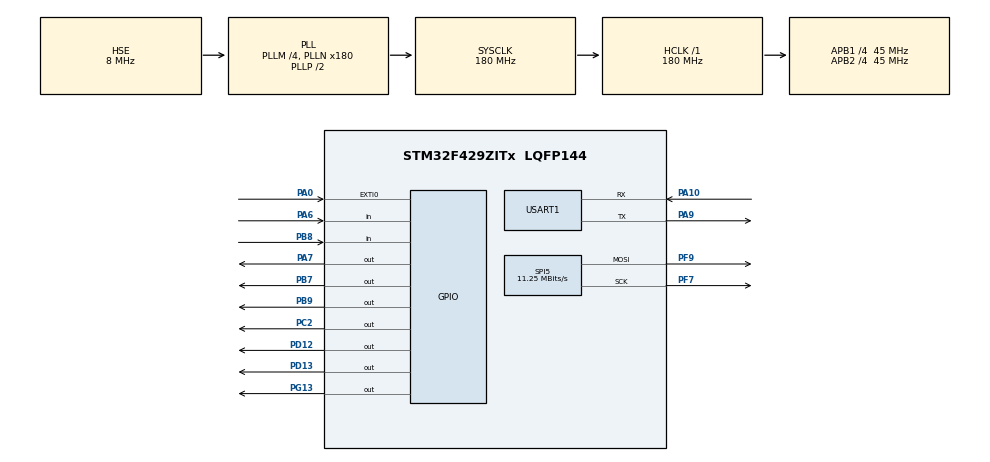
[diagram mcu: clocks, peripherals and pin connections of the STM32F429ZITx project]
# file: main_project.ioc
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Dma.Request0=SPI5_TX
Dma.SPI5_TX.0.Direction=DMA_MEMORY_TO_PERIPH
Dma.SPI5_TX.0.FIFOMode=DMA_FIFOMODE_DISABLE
Dma.SPI5_TX.0.Instance=DMA2_Stream4
Dma.SPI5_TX.0.MemDataAlignment=DMA_MDATAALIGN_BYTE
Dma.SPI5_TX.0.MemInc=DMA_MINC_ENABLE
Dma.SPI5_TX.0.Mode=DMA_NORMAL
Dma.SPI5_TX.0.PeriphDataAlignment=DMA_PDATAALIGN_BYTE
Dma.SPI5_TX.0.PeriphInc=DMA_PINC_DISABLE
Dma.SPI5_TX.0.Priority=DMA_PRIORITY_LOW
Mcu.Family=STM32F4
Mcu.Name=STM32F429ZITx
Mcu.Package=LQFP144
NVIC.DMA2_Stream4_IRQn=true\:0\:0\:false\:false\:true\:false\:true\:true
NVIC.EXTI0_IRQn=true\:0\:0\:false\:false\:true\:true\:true\:true
NVIC.PriorityGroup=NVIC_PRIORITYGROUP_4
PA0/WKUP.GPIO_ModeDefaultEXTI=GPIO_MODE_IT_RISING
PA0/WKUP.Signal=GPXTI0
PA10.Mode=Asynchronous
PA10.Signal=USART1_RX
PA6.Signal=GPIO_Input
PA7.Signal=GPIO_Output
PA9.Mode=Asynchronous
PA9.Signal=USART1_TX
PB7.Signal=GPIO_Output
PB8.Signal=GPIO_Input
PB9.Signal=GPIO_Output
PC2.Signal=GPIO_Output
PD12.Signal=GPIO_Output
PD13.Signal=GPIO_Output
PF7.Mode=TX_Only_Simplex_Unidirect_Master
PF7.Signal=SPI5_SCK
PF9.Mode=TX_Only_Simplex_Unidirect_Master
PF9.Signal=SPI5_MOSI
PG13.Signal=GPIO_Output
PH0/OSC_IN.Mode=HSE-External-Oscillator
PH0/OSC_IN.Signal=RCC_OSC_IN
PH1/OSC_OUT.Mode=HSE-External-Oscillator
PH1/OSC_OUT.Signal=RCC_OSC_OUT
ProjectManager.HeapSize=0x200
ProjectManager.StackSize=0x400
ProjectManager.TargetToolchain=STM32CubeIDE
RCC.48MHZClocksFreq_Value=90000000
RCC.AHBFreq_Value=180000000
RCC.APB1CLKDivider=RCC_HCLK_DIV4
RCC.APB1Freq_Value=45000000
RCC.APB1TimFreq_Value=90000000
RCC.APB2CLKDivider=RCC_HCLK_DIV4
RCC.APB2Freq_Value=45000000
RCC.APB2TimFreq_Value=90000000
RCC.CortexFreq_Value=180000000
RCC.HCLKFreq_Value=180000000
RCC.HSE_VALUE=8000000
RCC.HSI_VALUE=16000000
RCC.LSE_VALUE=32768
RCC.PLLM=4
RCC.PLLN=180
RCC.PLLSourceVirtual=RCC_PLLSOURCE_HSE
RCC.SYSCLKFreq_VALUE=180000000
RCC.SYSCLKSource=RCC_SYSCLKSOURCE_PLLCLK
RCC.VCOOutputFreq_Value=360000000
SPI5.BaudRatePrescaler=SPI_BAUDRATEPRESCALER_4
SPI5.CalculateBaudRate=11.25 MBits/s
SPI5.Direction=SPI_DIRECTION_2LINES
SPI5.Mode=SPI_MODE_MASTER
SPI5.VirtualType=VM_MASTER
TIM2.Prescaler=71
USART1.VirtualMode=VM_ASYNC
VP_TIM2_VS_ClockSourceINT.Mode=Internal
board=custom

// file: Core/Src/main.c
/* USER CODE BEGIN Header */
/**
  ******************************************************************************
  * @file           : main.c
  * @brief          : Main program body
  ******************************************************************************
  * @attention
  *
  * Copyright (c) 2026 STMicroelectronics.
  * All rights reserved.
  *
  * This software is licensed under terms that can be found in the LICENSE file
  * in the root directory of this software component.
  * If no LICENSE file comes with this software, it is provided AS-IS.
  *
  ******************************************************************************
  */
/* USER CODE END Header */
#include "main.h"

/* USER CODE BEGIN Includes */
#include "ili9341.h"
#include "img.h"
#include<stdlib.h>
#include<stdio.h>
#include<string.h>

/* USER CODE END Includes */

SPI_HandleTypeDef hspi5;
DMA_HandleTypeDef hdma_spi5_tx;

TIM_HandleTypeDef htim2;

UART_HandleTypeDef huart1;

/* USER CODE BEGIN PV */
uint8_t game_state = 0;
  // 0 = welcome screen
  // 1 = playing
  // 2 = end screen
uint8_t winner = 0;
uint16_t ropeX = 120 - 5;  // Center of screen (240/2) minus half rope width
uint16_t ropeWidth = 10;
uint16_t ropeHeight = 320;
uint16_t markerWidth = 20;  // Marker wider than rope
uint16_t markerX = 120 - 10; // Center marker (240/2 - markerWidth/2)
int rope_pos = 160;
/* USER CODE END PV */

void SystemClock_Config(void);
static void MX_GPIO_Init(void);
static void MX_DMA_Init(void);
static void MX_SPI5_Init(void);
static void MX_TIM2_Init(void);
static void MX_USART1_UART_Init(void);

/* USER CODE BEGIN 0 */

// Load Cell 1 - PB8/PB9
#define DT_PIN_1 GPIO_PIN_8
#define DT_PORT_1 GPIOB
#define SCK_PIN_1 GPIO_PIN_9
#define SCK_PORT_1 GPIOB

// Load Cell 2 - PA6/PA7
#define DT_PIN_2 GPIO_PIN_6
#define DT_PORT_2 GPIOA
#define SCK_PIN_2 GPIO_PIN_7
#define SCK_PORT_2 GPIOA

// Load Cell 1 calibration
int32_t tare1 = -145000;           // HX711 raw at weight 0
float knownOriginal1 = 200000;     // Known weight in mg
float knownHX711_1 = -167100;       // HX711 value when known weight applied

// Load Cell 2 calibration
int32_t tare2 = -639000;
float knownOriginal2 = 200000;
float knownHX711_2 = -661000;

void microDelay(uint16_t delay)
{
  __HAL_TIM_SET_COUNTER(&htim2, 0);
  while (__HAL_TIM_GET_COUNTER(&htim2) < delay);
}

int32_t getHX711(GPIO_TypeDef* dtPort, uint16_t dtPin, GPIO_TypeDef* sckPort, uint16_t sckPin)
{
  uint32_t data = 0;
  uint32_t startTime = HAL_GetTick();
  while(HAL_GPIO_ReadPin(dtPort, dtPin) == GPIO_PIN_SET)
  {
    if(HAL_GetTick() - startTime > 50)
      return 0;
  }
  for(int8_t len=0; len<24 ; len++)
  {
    HAL_GPIO_WritePin(sckPort, sckPin, GPIO_PIN_SET);
    microDelay(1);
    data = data << 1;
    HAL_GPIO_WritePin(sckPort, sckPin, GPIO_PIN_RESET);
    microDelay(1);
    if(HAL_GPIO_ReadPin(dtPort, dtPin) == GPIO_PIN_SET)
      data ++;
  }
  if(data & 0x800000)
    data |= 0xFF000000;
  HAL_GPIO_WritePin(sckPort, sckPin, GPIO_PIN_SET);
  microDelay(1);
  HAL_GPIO_WritePin(sckPort, sckPin, GPIO_PIN_RESET);
  microDelay(1);
  return data;
}

int weigh(GPIO_TypeDef* dtPort, uint16_t dtPin, GPIO_TypeDef* sckPort, uint16_t sckPin,
          int32_t tare, float knownOriginal, float knownHX711)
{
  int32_t  total = 0;
  int32_t  samples = 10;
  int32_t  validSamples = 0;
  int milligram;
  float coefficient;
  for(uint16_t i=0 ; i<samples ; i++)
  {
      int32_t reading = getHX711(dtPort, dtPin, sckPort, sckPin);
      if(reading != 0) // Skip timeout reads
      {
        total += reading;
        validSamples++;
      }
  }
  if(validSamples == 0)
    return 0;
  int32_t average = (int32_t)(total / validSamples);
  coefficient = abs(knownOriginal / abs(knownHX711 - tare));
  milligram = (int)(abs(average - tare) * coefficient);
  return milligram;
}

void draw_welcome_screen() {
  ILI9341_FillScreen(ILI9341_BLACK);
  ILI9341_DrawImage(0, 0, &kiet_start_image);
  ILI9341_DrawImage(160, 220, &minh_start_image);
  ILI9341_DrawText(38, 130, "Intense TUG of WAR, &Font_11x18, ILI9341_WHITE, ILI9341_RED);
  ILI9341_DrawText(25, 178, "Press PA0 to start", &Font_11x18, ILI9341_WHITE, ILI9341_RED);
  ILI9341_FillRect(0, 100, 240, 2, ILI9341_YELLOW);
  ILI9341_FillRect(0, 220, 240, 2, ILI9341_YELLOW);
}

void draw_end_screen(){
	ILI9341_FillScreen(ILI9341_BLACK);
	if (winner == 1){ // MInh, draw kiet_lose
		ILI9341_DrawText(40, 0, "KIET LOSES", &Font_16x26, ILI9341_WHITE, ILI9341_RED);
    ILI9341_DrawImage(0, 40, &kiet_lose_image);
	}
	else{
		ILI9341_DrawText(40, 0, "MINH LOSES", &Font_16x26, ILI9341_WHITE, ILI9341_RED);
		ILI9341_DrawImage(0, 40, &minh_lose_image);
	}
}

void draw_rope(int16_t pos);

void draw_game_screen(){
	ILI9341_FillScreen(ILI9341_BLACK);
	ILI9341_DrawImage(0, 0, &kiet_start_image);
	ILI9341_DrawImage(160, 220, &minh_start_image);
	ILI9341_FillRect(0, 100, 240, 2, ILI9341_YELLOW);
	ILI9341_FillRect(0, 220, 240, 2, ILI9341_YELLOW);
	draw_rope(160);
}

void draw_rope(int16_t pos) {
  static int16_t lastPos = -1;

  if(lastPos == -1) {
    // First time - draw full rope
    ILI9341_FillRect(ropeX, 0, ropeWidth, pos - 5, ILI9341_RED);
    ILI9341_FillRect(markerX, pos - 5, markerWidth, 10, ILI9341_GREEN);
    ILI9341_FillRect(ropeX, pos + 5, ropeWidth, ropeHeight - (pos + 5), ILI9341_BLUE);
    lastPos = pos;
    return;
  }

  if(pos == lastPos) return;

  if(pos > lastPos) {
    // Moving down by 1 pixel
    ILI9341_FillRect(ropeX, lastPos - 5, ropeWidth, 1, ILI9341_RED);      // Add 1px red
    ILI9341_FillRect(ropeX, lastPos + 5, ropeWidth, 1, ILI9341_BLACK);    // Erase 1px blue

    // Marker top edge: center 10px rope color, sides 5px black
    ILI9341_FillRect(markerX, lastPos - 5, 5, 1, ILI9341_BLACK);          // Left side black
    ILI9341_FillRect(ropeX, lastPos - 5, ropeWidth, 1, ILI9341_RED);      // Center rope red
    ILI9341_FillRect(markerX + 15, lastPos - 5, 5, 1, ILI9341_BLACK);     // Right side black
    // Marker bottom edge: full green
    ILI9341_FillRect(markerX, pos + 4, markerWidth, 1, ILI9341_GREEN);

  } else {
    // Moving up by 1 pixel
    ILI9341_FillRect(ropeX, pos - 5, ropeWidth, 1, ILI9341_BLACK);        // Erase 1px red
    ILI9341_FillRect(ropeX, pos + 5, ropeWidth, 1, ILI9341_BLUE);         // Add 1px blue
    // Marker bottom edge: center 10px rope color, sides 5px black
    ILI9341_FillRect(markerX, lastPos + 4, 5, 1, ILI9341_BLACK);          // Left side black
    ILI9341_FillRect(ropeX, lastPos + 4, ropeWidth, 1, ILI9341_BLUE);     // Center rope blue
    ILI9341_FillRect(markerX + 15, lastPos + 4, 5, 1, ILI9341_BLACK);     // Right side black
    // Marker top edge: full green
    ILI9341_FillRect(markerX, pos - 5, markerWidth, 1, ILI9341_GREEN);
  }

  lastPos = pos;
}

void main_game_logic(int weight_MInh, int weight_Kiet){ // unit gram

  int rope_change = abs(weight_MInh - weight_Kiet) / 1000 * 2;
  if (rope_change == 0)
	  return;
  int rope_dir = 0;
  if (weight_MInh > weight_Kiet)
	  rope_dir = 1;
  else
	  rope_dir = -1;

  for(int i = 1; i <= rope_change; i++){
	  rope_pos += rope_dir;
	  if(rope_pos == 95 || rope_pos == 225)
		  break;
	  draw_rope(rope_pos);
  }

  if (rope_pos == 95) {
	  game_state = 2;
	  winner = 2;
	  draw_end_screen();
  }
  else if (rope_pos == 225) {
	  game_state = 2;
	  winner = 1;
	  draw_end_screen();
  }
}
/* USER CODE END 0 */

int main(void)
{

  /* MCU Configuration--------------------------------------------------------*/

  /* Reset of all peripherals, Initializes the Flash interface and the Systick. */
  HAL_Init();

  /* Configure the system clock */
  SystemClock_Config();

  /* Initialize all configured peripherals */
  MX_GPIO_Init();
  MX_DMA_Init();
  MX_SPI5_Init();
  MX_TIM2_Init();
  MX_USART1_UART_Init();
  /* USER CODE BEGIN 2 */
  HAL_TIM_Base_Start(&htim2);

  // Initialize HX711 modules
  HAL_GPIO_WritePin(SCK_PORT_1, SCK_PIN_1, GPIO_PIN_RESET);
  HAL_GPIO_WritePin(SCK_PORT_2, SCK_PIN_2, GPIO_PIN_RESET);

  ILI9341_Init();
  ILI9341_SetRotation(0);

  // Show welcome screen
  draw_welcome_screen();
  /* USER CODE END 2 */

  /* Infinite loop */
  /* USER CODE BEGIN WHILE */
  uint8_t debug = 0;
  while (1)
  {
    /* USER CODE END WHILE */

    /* USER CODE BEGIN 3 */
	  int weight_MInh, weight_Kiet;
	  weight_MInh = weigh(DT_PORT_1, DT_PIN_1, SCK_PORT_1, SCK_PIN_1, tare1, knownOriginal1, knownHX711_1) / 1000;
	  weight_Kiet = weigh(DT_PORT_2, DT_PIN_2, SCK_PORT_2, SCK_PIN_2, tare2, knownOriginal2, knownHX711_2) / 1000;
	  if (debug){
		  char buf[200];
		  sprintf(buf, "MInh Weight:%d gram | Kiet Weight:%d gram\r\n", weight_MInh, weight_Kiet);
		  HAL_UART_Transmit(&huart1, (const uint8_t*)buf, strlen(buf), 100);
	  }
	  if (game_state == 0){
		  HAL_GPIO_TogglePin(GPIOG, GPIO_PIN_13);
		  HAL_Delay(500);
	  }
	  else if (game_state == 2){
		  HAL_GPIO_TogglePin(GPIOB, GPIO_PIN_7);
		  HAL_Delay(500);
	  }
	  else
		  main_game_logic(weight_MInh, weight_Kiet);
  }
  /* USER CODE END 3 */
}

void SystemClock_Config(void)
{
  RCC_OscInitTypeDef RCC_OscInitStruct = {0};
  RCC_ClkInitTypeDef RCC_ClkInitStruct = {0};

  /** Configure the main internal regulator output voltage
  */
  __HAL_RCC_PWR_CLK_ENABLE();
  __HAL_PWR_VOLTAGESCALING_CONFIG(PWR_REGULATOR_VOLTAGE_SCALE1);

  /** Initializes the RCC Oscillators according to the specified parameters
  * in the RCC_OscInitTypeDef structure.
  */
  RCC_OscInitStruct.OscillatorType = RCC_OSCILLATORTYPE_HSE;
  RCC_OscInitStruct.HSEState = RCC_HSE_ON;
  RCC_OscInitStruct.PLL.PLLState = RCC_PLL_ON;
  RCC_OscInitStruct.PLL.PLLSource = RCC_PLLSOURCE_HSE;
  RCC_OscInitStruct.PLL.PLLM = 4;
  RCC_OscInitStruct.PLL.PLLN = 180;
  RCC_OscInitStruct.PLL.PLLP = RCC_PLLP_DIV2;
  RCC_OscInitStruct.PLL.PLLQ = 4;
  if (HAL_RCC_OscConfig(&RCC_OscInitStruct) != HAL_OK)
  {
    Error_Handler();
  }

  /** Activate the Over-Drive mode
  */
  if (HAL_PWREx_EnableOverDrive() != HAL_OK)
  {
    Error_Handler();
  }

  /** Initializes the CPU, AHB and APB buses clocks
  */
  RCC_ClkInitStruct.ClockType = RCC_CLOCKTYPE_HCLK|RCC_CLOCKTYPE_SYSCLK
                              |RCC_CLOCKTYPE_PCLK1|RCC_CLOCKTYPE_PCLK2;
  RCC_ClkInitStruct.SYSCLKSource = RCC_SYSCLKSOURCE_PLLCLK;
  RCC_ClkInitStruct.AHBCLKDivider = RCC_SYSCLK_DIV1;
  RCC_ClkInitStruct.APB1CLKDivider = RCC_HCLK_DIV4;
  RCC_ClkInitStruct.APB2CLKDivider = RCC_HCLK_DIV4;

  if (HAL_RCC_ClockConfig(&RCC_ClkInitStruct, FLASH_LATENCY_5) != HAL_OK)
  {
    Error_Handler();
  }
}

static void MX_SPI5_Init(void)
{

  /* SPI5 parameter configuration*/
  hspi5.Instance = SPI5;
  hspi5.Init.Mode = SPI_MODE_MASTER;
  hspi5.Init.Direction = SPI_DIRECTION_2LINES;
  hspi5.Init.DataSize = SPI_DATASIZE_8BIT;
  hspi5.Init.CLKPolarity = SPI_POLARITY_LOW;
  hspi5.Init.CLKPhase = SPI_PHASE_1EDGE;
  hspi5.Init.NSS = SPI_NSS_SOFT;
  hspi5.Init.BaudRatePrescaler = SPI_BAUDRATEPRESCALER_4;
  hspi5.Init.FirstBit = SPI_FIRSTBIT_MSB;
  hspi5.Init.TIMode = SPI_TIMODE_DISABLE;
  hspi5.Init.CRCCalculation = SPI_CRCCALCULATION_DISABLE;
  hspi5.Init.CRCPolynomial = 10;
  if (HAL_SPI_Init(&hspi5) != HAL_OK)
  {
    Error_Handler();
  }

}

static void MX_TIM2_Init(void)
{

  TIM_ClockConfigTypeDef sClockSourceConfig = {0};
  TIM_MasterConfigTypeDef sMasterConfig = {0};

  htim2.Instance = TIM2;
  htim2.Init.Prescaler = 71;
  htim2.Init.CounterMode = TIM_COUNTERMODE_UP;
  htim2.Init.Period = 4294967295;
  htim2.Init.ClockDivision = TIM_CLOCKDIVISION_DIV1;
  htim2.Init.AutoReloadPreload = TIM_AUTORELOAD_PRELOAD_DISABLE;
  if (HAL_TIM_Base_Init(&htim2) != HAL_OK)
  {
    Error_Handler();
  }
  sClockSourceConfig.ClockSource = TIM_CLOCKSOURCE_INTERNAL;
  if (HAL_TIM_ConfigClockSource(&htim2, &sClockSourceConfig) != HAL_OK)
  {
    Error_Handler();
  }
  sMasterConfig.MasterOutputTrigger = TIM_TRGO_RESET;
  sMasterConfig.MasterSlaveMode = TIM_MASTERSLAVEMODE_DISABLE;
  if (HAL_TIMEx_MasterConfigSynchronization(&htim2, &sMasterConfig) != HAL_OK)
  {
    Error_Handler();
  }

}

static void MX_USART1_UART_Init(void)
{

  huart1.Instance = USART1;
  huart1.Init.BaudRate = 115200;
  huart1.Init.WordLength = UART_WORDLENGTH_8B;
  huart1.Init.StopBits = UART_STOPBITS_1;
  huart1.Init.Parity = UART_PARITY_NONE;
  huart1.Init.Mode = UART_MODE_TX_RX;
  huart1.Init.HwFlowCtl = UART_HWCONTROL_NONE;
  huart1.Init.OverSampling = UART_OVERSAMPLING_16;
  if (HAL_UART_Init(&huart1) != HAL_OK)
  {
    Error_Handler();
  }

}

static void MX_DMA_Init(void)
{

  /* DMA controller clock enable */
  __HAL_RCC_DMA2_CLK_ENABLE();

  /* DMA interrupt init */
  /* DMA2_Stream4_IRQn interrupt configuration */
  HAL_NVIC_SetPriority(DMA2_Stream4_IRQn, 0, 0);
  HAL_NVIC_EnableIRQ(DMA2_Stream4_IRQn);

}

static void MX_GPIO_Init(void)
{
  GPIO_InitTypeDef GPIO_InitStruct = {0};

  /* GPIO Ports Clock Enable */
  __HAL_RCC_GPIOF_CLK_ENABLE();
  __HAL_RCC_GPIOH_CLK_ENABLE();
  __HAL_RCC_GPIOC_CLK_ENABLE();
  __HAL_RCC_GPIOA_CLK_ENABLE();
  __HAL_RCC_GPIOD_CLK_ENABLE();
  __HAL_RCC_GPIOG_CLK_ENABLE();
  __HAL_RCC_GPIOB_CLK_ENABLE();

  /*Configure GPIO pin Output Level */
  HAL_GPIO_WritePin(GPIOC, GPIO_PIN_2, GPIO_PIN_RESET);

  /*Configure GPIO pin Output Level */
  HAL_GPIO_WritePin(GPIOA, GPIO_PIN_7, GPIO_PIN_RESET);

  /*Configure GPIO pin Output Level */
  HAL_GPIO_WritePin(GPIOD, GPIO_PIN_12|GPIO_PIN_13, GPIO_PIN_RESET);

  /*Configure GPIO pin Output Level */
  HAL_GPIO_WritePin(GPIOG, GPIO_PIN_13, GPIO_PIN_RESET);

  /*Configure GPIO pin Output Level */
  HAL_GPIO_WritePin(GPIOB, GPIO_PIN_7|GPIO_PIN_9, GPIO_PIN_RESET);

  /*Configure GPIO pin : PC2 */
  GPIO_InitStruct.Pin = GPIO_PIN_2;
  GPIO_InitStruct.Mode = GPIO_MODE_OUTPUT_PP;
  GPIO_InitStruct.Pull = GPIO_NOPULL;
  GPIO_InitStruct.Speed = GPIO_SPEED_FREQ_LOW;
  HAL_GPIO_Init(GPIOC, &GPIO_InitStruct);

  /*Configure GPIO pin : PA0 */
  GPIO_InitStruct.Pin = GPIO_PIN_0;
  GPIO_InitStruct.Mode = GPIO_MODE_IT_RISING;
  GPIO_InitStruct.Pull = GPIO_NOPULL;
  HAL_GPIO_Init(GPIOA, &GPIO_InitStruct);

  /*Configure GPIO pin : PA6 */
  GPIO_InitStruct.Pin = GPIO_PIN_6;
  GPIO_InitStruct.Mode = GPIO_MODE_INPUT;
  GPIO_InitStruct.Pull = GPIO_NOPULL;
  HAL_GPIO_Init(GPIOA, &GPIO_InitStruct);

  /*Configure GPIO pin : PA7 */
  GPIO_InitStruct.Pin = GPIO_PIN_7;
  GPIO_InitStruct.Mode = GPIO_MODE_OUTPUT_PP;
  GPIO_InitStruct.Pull = GPIO_NOPULL;
  GPIO_InitStruct.Speed = GPIO_SPEED_FREQ_LOW;
  HAL_GPIO_Init(GPIOA, &GPIO_InitStruct);

  /*Configure GPIO pins : PD12 PD13 */
  GPIO_InitStruct.Pin = GPIO_PIN_12|GPIO_PIN_13;
  GPIO_InitStruct.Mode = GPIO_MODE_OUTPUT_PP;
  GPIO_InitStruct.Pull = GPIO_NOPULL;
  GPIO_InitStruct.Speed = GPIO_SPEED_FREQ_LOW;
  HAL_GPIO_Init(GPIOD, &GPIO_InitStruct);

  /*Configure GPIO pin : PG13 */
  GPIO_InitStruct.Pin = GPIO_PIN_13;
  GPIO_InitStruct.Mode = GPIO_MODE_OUTPUT_PP;
  GPIO_InitStruct.Pull = GPIO_NOPULL;
  GPIO_InitStruct.Speed = GPIO_SPEED_FREQ_LOW;
  HAL_GPIO_Init(GPIOG, &GPIO_InitStruct);

  /*Configure GPIO pins : PB7 PB9 */
  GPIO_InitStruct.Pin = GPIO_PIN_7|GPIO_PIN_9;
  GPIO_InitStruct.Mode = GPIO_MODE_OUTPUT_PP;
  GPIO_InitStruct.Pull = GPIO_NOPULL;
  GPIO_InitStruct.Speed = GPIO_SPEED_FREQ_LOW;
  HAL_GPIO_Init(GPIOB, &GPIO_InitStruct);

  /*Configure GPIO pin : PB8 */
  GPIO_InitStruct.Pin = GPIO_PIN_8;
  GPIO_InitStruct.Mode = GPIO_MODE_INPUT;
  GPIO_InitStruct.Pull = GPIO_NOPULL;
  HAL_GPIO_Init(GPIOB, &GPIO_InitStruct);

  /* EXTI interrupt init*/
  HAL_NVIC_SetPriority(EXTI0_IRQn, 0, 0);
  HAL_NVIC_EnableIRQ(EXTI0_IRQn);

}

void Error_Handler(void)
{
  __disable_irq();
  while (1)
  {
  }
}
